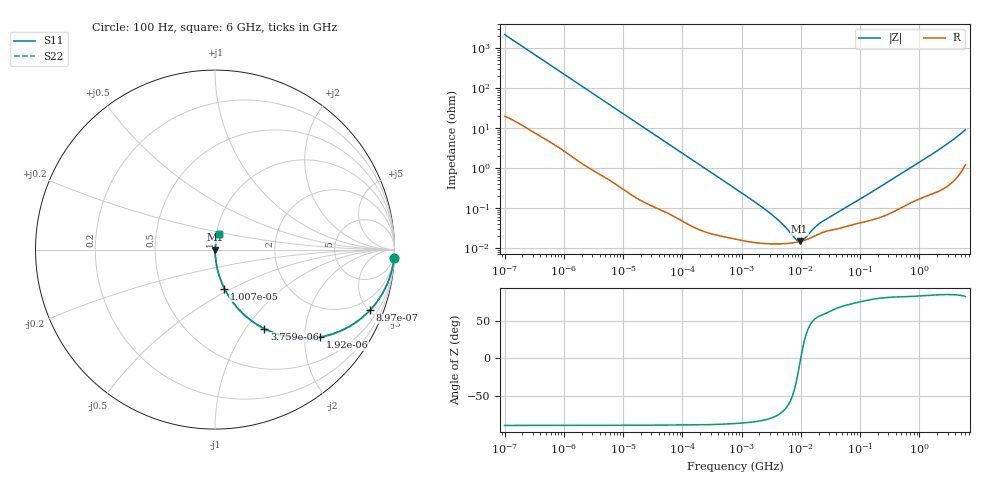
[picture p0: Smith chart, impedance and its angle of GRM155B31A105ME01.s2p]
!Murata Part Number: GRM155B31A105ME01
!These Parameters are Measured in Series Mode Connection
!Data Generated on Mar 30, 2021
!  o--ll--o
!Port1  Port2
!  o------o
!Operation Temp=25[degC], DC Bias Voltage=0[V]
!Freq. Start=100[Hz] Stop=6[GHz] 401[Steps]
# Hz S RI R 50
!Freq.(Hz) S11(Real) S11(Imag) S21(Real) S21(Imag) S12(Real) S12(Imag) S22(Real) S22(Imag)
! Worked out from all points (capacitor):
!   401 points, 100 Hz to 6 GHz, reference 50 ohm
!   read as one part in series: C = 709 nF near 109 Hz
!   lowest |Z| = 14.6 mohm at 9.506 MHz (marker M1)
!   series resonance near 9.969 MHz, so ESL is about 360 pH
!   S11 on the Smith chart (normalised r, x): 100 Hz: 1, -45; 897 Hz: 1.06, -5.07; 1.92 kHz: 1.03, -2.38; 3.759 kHz: 1.01, -1.22; 10.07 kHz: 1.01, -0.46; 6 GHz: 1.02, +0.18
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100  0.9976 -0.0446  0.00239 0.0446  0.00239 0.0446  0.9976 -0.0446
335  0.977 -0.1447  0.023 0.1447  0.023 0.1447  0.977 -0.1447
897  0.8626 -0.3384  0.1374 0.3384  0.1374 0.3384  0.8626 -0.3384
1283  0.7572 -0.423  0.2428 0.423  0.2428 0.423  0.7572 -0.423
1920  0.5859 -0.4869  0.4141 0.4869  0.4141 0.4869  0.5859 -0.4869
2008  0.5644 -0.4901  0.4356 0.4901  0.4356 0.4901  0.5644 -0.4901
3759  0.2747 -0.4403  0.7253 0.4403  0.7253 0.4403  0.2747 -0.4403
5882  0.1365 -0.337  0.8635 0.337  0.8635 0.337  0.1365 -0.337
10066  0.0529 -0.2175  0.9471 0.2175  0.9471 0.2175  0.0529 -0.2175
18841  0.0166 -0.1213  0.9834 0.1213  0.9834 0.1213  0.0166 -0.1213
40335  0.00429 -0.0577  0.9957 0.0577  0.9957 0.0577  0.00429 -0.0577
774597  0.000176 -0.00309  0.9998 0.00309  0.9998 0.00309  0.000176 -0.00309
3394479  0.000127 -0.000634  0.9999 0.000634  0.9999 0.000634  0.000127 -0.000634
5079039  0.000128 -0.000354  0.9999 0.000354  0.9999 0.000354  0.000128 -0.000354
8311524  0.000138 -8.83e-05  0.9999 8.83e-05  0.9999 8.83e-05  0.000138 -8.83e-05
9506416  0.000144 -2.29e-05  0.9999 2.29e-05  0.9999 2.29e-05  0.000144 -2.29e-05
1.137099e7  0.000154 6.27e-05  0.9998 -6.27e-05  0.9998 -6.27e-05  0.000154 6.27e-05
1.555665e7  0.000185 0.000211  0.9998 -0.000211  0.9998 -0.000211  0.000185 0.000211
2.434276e7  0.00025 0.000413  0.9997 -0.000413  0.9997 -0.000413  0.00025 0.000413
3.124326e8  0.000741 0.00473  0.9993 -0.00473  0.9993 -0.00473  0.000741 0.00473
1.873145e9  0.00306 0.0253  0.9969 -0.0253  0.9969 -0.0253  0.00306 0.0253
6e9  0.0198 0.088  0.9802 -0.088  0.9802 -0.088  0.0198 0.088
